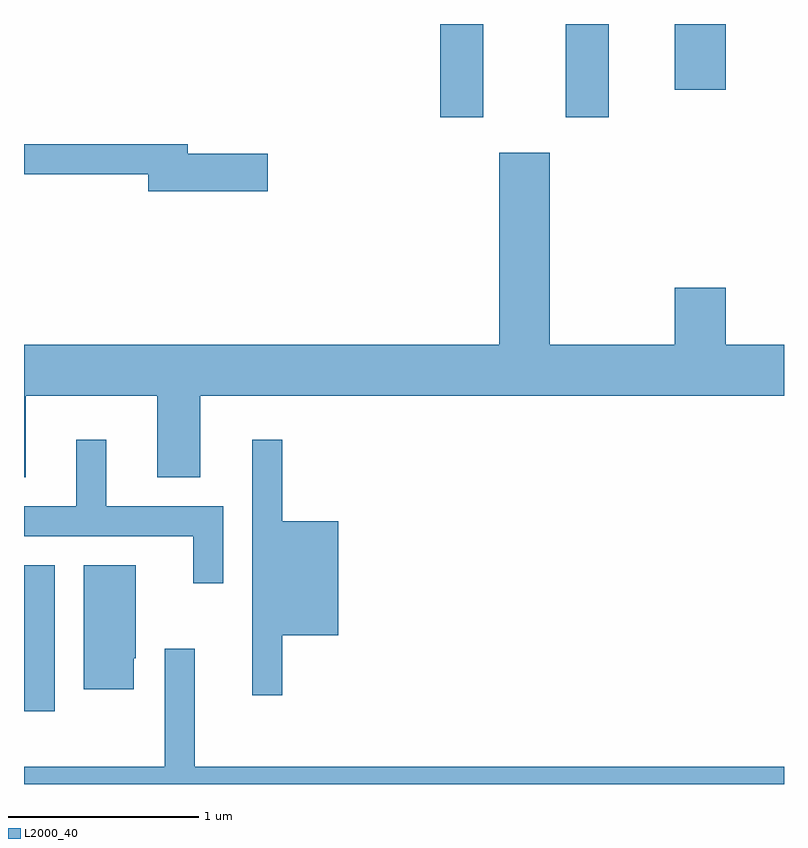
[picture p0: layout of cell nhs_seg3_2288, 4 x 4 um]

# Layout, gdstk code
import gdstk
lib = gdstk.Library(unit=1e-6, precision=1e-09)
def R(c, l, rs):  # rectangles x0, y0, x1, y1
    for r in rs: c.add(gdstk.rectangle(r[:2], r[2:], *l))
def P(c, l, *ps):  # polygons
    for p in ps: c.add(gdstk.Polygon(p, *l))
L2000_40 = (2000, 40)

nhs_seg3_2288 = lib.new_cell('nhs_seg3_2288')
R(nhs_seg3_2288, L2000_40, [(251.611,1204.276,251.774,1205.044), (253.801,1207.401,254.029,1207.892), (254.461,1207.401,254.689,1207.892), (255.036,1207.546,255.304,1207.892)])
P(nhs_seg3_2288, L2000_40, [(252.894,1207.209),(252.474,1207.209),(252.474,1207.259),(251.611,1207.259),(251.611,1207.101),(252.266,1207.101),(252.266,1207.011),(252.894,1207.011)],
  [(251.619,1205.936),(252.311,1205.936),(252.311,1205.506),(252.539,1205.506),(252.539,1205.936),(255.611,1205.936),(255.611,1206.204),(255.304,1206.204),(255.304,1206.504),(255.036,1206.504),(255.036,1206.204),(254.379,1206.204),(254.379,1207.214),(254.111,1207.214),(254.111,1206.204),(251.611,1206.204),(251.611,1205.506),(251.619,1205.506)],
  [(252.659,1205.354),(252.044,1205.354),(252.044,1205.703),(251.886,1205.703),(251.886,1205.354),(251.611,1205.354),(251.611,1205.196),(252.501,1205.196),(252.501,1204.948),(252.659,1204.948)],
  [(252.969,1204.676),(253.264,1204.676),(253.264,1205.274),(252.969,1205.274),(252.969,1205.703),(252.811,1205.703),(252.811,1204.358),(252.969,1204.358)],
  [(252.189,1204.555),(252.199,1204.555),(252.199,1205.044),(251.926,1205.044),(251.926,1204.391),(252.189,1204.391)],
  [(252.509,1204.603),(252.351,1204.603),(252.351,1203.984),(251.611,1203.984),(251.611,1203.892),(255.611,1203.892),(255.611,1203.984),(252.509,1203.984)])

lib.write_gds('nhs_seg3_2288.gds')
